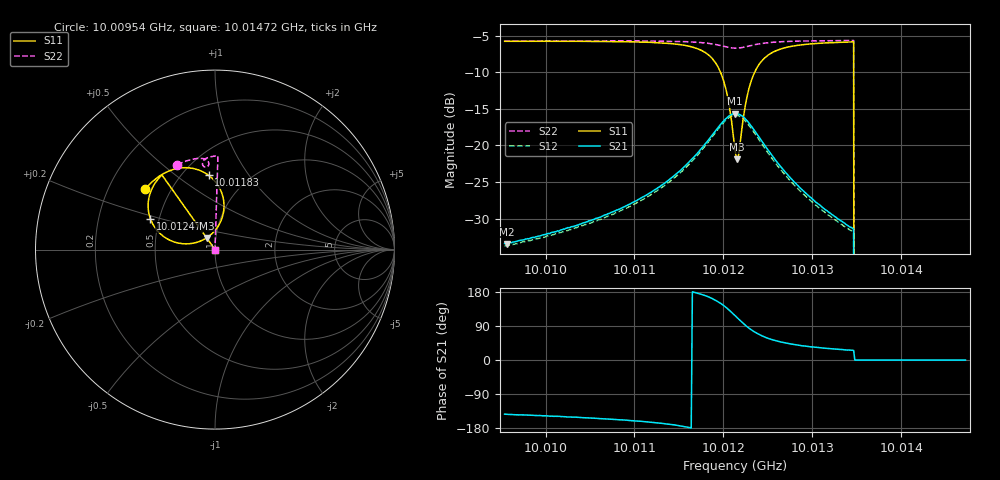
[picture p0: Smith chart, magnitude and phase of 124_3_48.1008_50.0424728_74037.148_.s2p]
#  HZ  S  RI  R  50.00
! Rohde & Schwarz Vector Network Analyzer
! Rohde-Schwarz,ZNB20-2Port,1311601062101988,3.16
! Created: UTC 12/23/2023, 3:47:06 AM
! freq[Hz]  re:S11  im:S11  re:S21  im:S21  re:S12  im:S12  re:S22  im:S22
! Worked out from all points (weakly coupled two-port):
!   401 points, 10.00954 GHz to 10.01472 GHz, reference 50 ohm
!   highest |S21| = -15.64 dB at 10.01213 GHz (marker M1); lowest = -33.5 dB at 10.00957 GHz (marker M2)
!   lowest |S11| = -21.9 dB at 10.01216 GHz (marker M3), VSWR 1.17, Z = 45.2 + j5.96 ohm
!   |S11| at or under -10 dB: 10.01197 GHz to 10.01235 GHz (383.6 kHz wide, 0.00383 % of centre); 10.01346 GHz to end of sweep
!   |S22| runs from - to -5.6 dB; largest |S21 - S12| = 0.008
!   S11 on the Smith chart (normalised r, x): 10.00954 GHz: 0.36, +0.33; 10.01183 GHz: 0.67, +0.67; 10.01247 GHz: 0.45, +0.18; 10.01472 GHz: 1.00, +0.00
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1.000954e10  -0.3892 0.3372  -0.0171 -0.0129  -0.0158 -0.0131  -0.2092 0.4738
1.0009566e10  -0.3878 0.3388  -0.0171 -0.0126  -0.0159 -0.0132  -0.2077 0.4746
1.0010408e10  -0.3343 0.3914  -0.0258 -0.0138  -0.0243 -0.0145  -0.1551 0.495
1.0011276e10  -0.2323 0.4466  -0.0505 -0.0123  -0.0479 -0.0143  -0.0936 0.5081
1.0011586e10  -0.1516 0.4559  -0.074 -0.00398  -0.071 -0.00769  -0.067 0.5074
1.0011833e10  -0.0358 0.4139  -0.1064 0.0251  -0.1045 0.0193  -0.0433 0.4965
1.0011936e10  0.0237 0.3462  -0.1185 0.0573  -0.1182 0.0498  -0.0356 0.4853
1.0012014e10  0.0499 0.2566  -0.1177 0.0924  -0.1188 0.085  -0.0348 0.4735
1.0012066e10  0.0412 0.1823  -0.1056 0.1195  -0.1077 0.1123  -0.0387 0.4657
1.001213e10  -0.0127 0.0926  -0.0753 0.1471  -0.0792 0.1401  -0.0483 0.4598
1.0012156e10  -0.0467 0.0655  -0.0598 0.1535  -0.0636 0.1472  -0.0528 0.4595
1.0012182e10  -0.0853 0.0459  -0.0439 0.1567  -0.0473 0.1509  -0.0574 0.4604
1.0012247e10  -0.1859 0.0334  -0.00471 0.1518  -0.00945 0.1464  -0.0663 0.4672
1.0012299e10  -0.2531 0.0531  0.0192 0.1384  0.0141 0.1336  -0.0697 0.4748
1.0012377e10  -0.322 0.1064  0.0398 0.113  0.0344 0.1096  -0.0691 0.4866
1.0012467e10  -0.3597 0.1708  0.0493 0.0865  0.044 0.0845  -0.0635 0.4969
1.00127e10  -0.369 0.2856  0.0463 0.0459  0.0422 0.0458  -0.0433 0.5116
1.0012998e10  -0.341 0.3591  0.0357 0.0243  0.0326 0.025  -0.0184 0.5187
1.0013439e10  -0.2981 0.4136  0.0248 0.0119  0.023 0.0125  0.0146 0.5215
1.0013503e10  0 0  0 0  0 0  0 0
1.0013866e10  0 0  0 0  0 0  0 0
1.0014721e10  0 0  0 0  0 0  0 0
